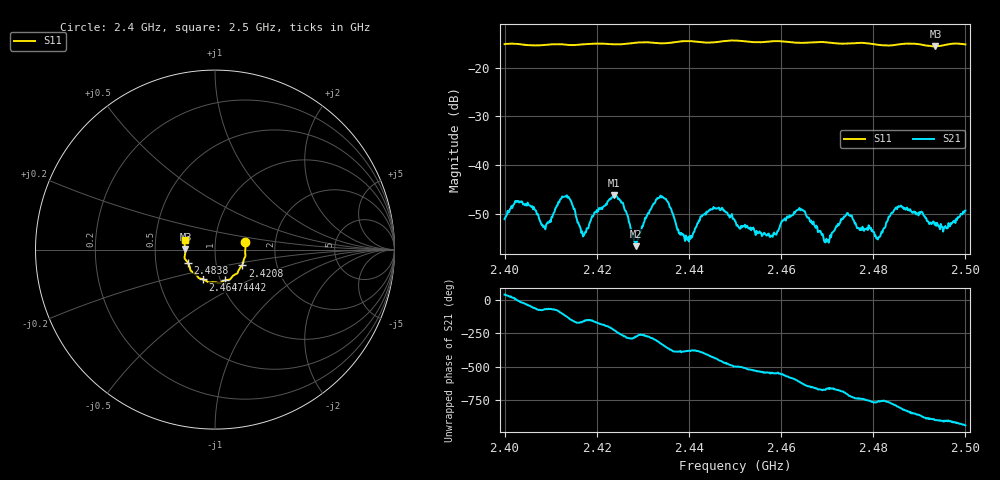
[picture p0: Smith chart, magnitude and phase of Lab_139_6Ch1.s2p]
# Hz S RI R 50
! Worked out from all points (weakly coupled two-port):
!   601 points, 2.4 GHz to 2.5 GHz, reference 50 ohm
!   highest |S21| = -46.14 dB at 2.4237 GHz (marker M1); lowest = -56.6 dB at 2.4285 GHz (marker M2)
!   lowest |S11| = -15.7 dB at 2.4935 GHz (marker M3), VSWR 1.39, Z = 35.8 + j0.195 ohm
!   |S11| at or under -10 dB: start of sweep to end of sweep
!   S12 and S22 are empty: the file has one direction only
!   S11 on the Smith chart (normalised r, x): 2.4 GHz: 1.40, +0.12; 2.4208 GHz: 1.33, -0.24; 2.4442 GHz: 1.05, -0.37; 2.4647 GHz: 0.83, -0.28; 2.4838 GHz: 0.73, -0.11; 2.5 GHz: 0.71, +0.08
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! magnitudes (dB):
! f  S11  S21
! 2.4 GHz  -15.2  -51.1
! 2.4033 GHz  -15.2  -47.5
! 2.4087 GHz  -15.4  -52.7
! 2.4133 GHz  -15.3  -46.4
! 2.4167 GHz  -15.3  -53.9
! 2.4208 GHz  -15.1  -49.0
! 2.4237 GHz  -15.2  -46.1
! 2.4285 GHz  -14.9  -56.6
! 2.4333 GHz  -15.0  -46.8
! 2.4395 GHz  -14.6  -55.0
! 2.4442 GHz  -14.9  -49.5
! 2.45 GHz  -14.5  -51.5
! 2.4578 GHz  -14.6  -54.4
! 2.4647 GHz  -14.9  -49.2
! 2.4667 GHz  -14.8  -51.9
! 2.4698 GHz  -14.8  -55.1
! 2.4742 GHz  -15.1  -50.2
! 2.481 GHz  -15.3  -55.2
! 2.4833 GHz  -15.5  -50.6
! 2.4838 GHz  -15.5  -50.0
! 2.4935 GHz  -15.7  -51.9
! 2.5 GHz  -15.3  -49.3
